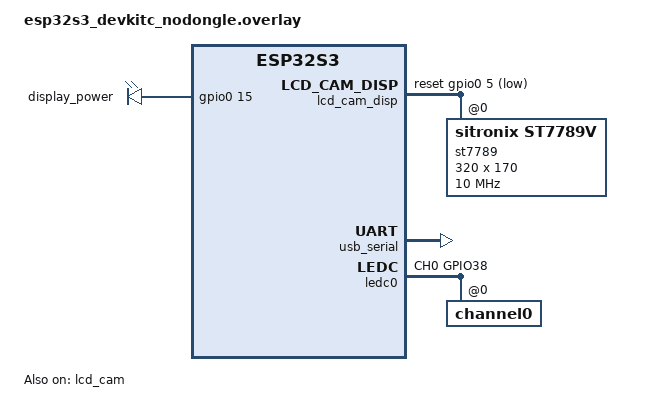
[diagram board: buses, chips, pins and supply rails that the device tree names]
#include <zephyr/dt-bindings/mipi_dbi/mipi_dbi.h>
#include <zephyr/dt-bindings/pinctrl/esp32s3-pinctrl.h>
#include <zephyr/dt-bindings/pwm/pwm.h>
#include <zephyr/dt-bindings/display/panel.h>

/ {
    chosen
    {
        zephyr,console = &usb_serial;
        zephyr,shell-uart = &usb_serial;
    };

    aliases
	{
        display-ctrl = &st7789;
    };

    // pwmleds removed - using direct PWM API instead

    leds
	{
        compatible = "gpio-leds";
        display_power: display_power_node //not used when using supplying power via USB
		{
            gpios = <&gpio0 15 GPIO_ACTIVE_HIGH>;
        };
    };

    // testing: testing
    // {
    //     compatible = "espressif,esp-mipi-dbi-lcd";

    //     #address-cells = <1>;
    //     #size-cells = <0>;

    //     dmas = <&dma 5>;  // Back to channel 5 for LCD
    //     dma-names = "tx";
    //     lcd-clock = <10000000>;
    //     bus-width = <8>;
    //     reset-gpios = <&gpio0 5 GPIO_ACTIVE_LOW>;
    //     dc-gpios = <&gpio0 7 GPIO_ACTIVE_HIGH>;
    //     wr-gpios = <&gpio0 8 GPIO_ACTIVE_HIGH>;
    //     rd-gpios = <&gpio0 9 GPIO_ACTIVE_HIGH>;
    //     cs-gpios = <&gpio0 6 GPIO_ACTIVE_LOW>;

    //     data-gpios = <&gpio1 (39 - 32) GPIO_ACTIVE_HIGH>,
    //                  <&gpio1 (40 - 32) GPIO_ACTIVE_HIGH>,
    //                  <&gpio1 (41 - 32) GPIO_ACTIVE_HIGH>,
    //                  <&gpio1 (42 - 32) GPIO_ACTIVE_HIGH>,
    //                  <&gpio1 (45 - 32) GPIO_ACTIVE_HIGH>,
    //                  <&gpio1 (46 - 32) GPIO_ACTIVE_HIGH>,
    //                  <&gpio1 (47 - 32) GPIO_ACTIVE_HIGH>,
    //                  <&gpio1 (48 - 32) GPIO_ACTIVE_HIGH>;

    //     st7789: st7789@0
    //     {
    //         compatible = "sitronix,st7789v";
    //         reg = <0>;
    //         mipi-max-frequency = <10000000>;
    //         mipi-mode = "MIPI_DBI_MODE_8080_BUS_8_BIT";
    //         // inversion-off;

    //         pixel-format = <PANEL_PIXEL_FORMAT_RGB_565>;

    //         height = <170>;
    //         width = <320>;
    //         x-offset = <0>;
    //         y-offset = <35>;
    //         // mdac = <0xa0>;
    //         mdac = <0xa0>; // 0xa0 | 0x08 (MADCTL bit3 = BGR order; replaces old CONFIG_ST7789V_BGR565)

    //         vcom = <0x19>;
    //         gctrl = <0x35>;
    //         vrhs = <0x12>;
    //         vdvs = <0x20>;
    //         gamma = <0x01>;
    //         lcm = <0x2c>;
    //         porch-param = [ 0c 0c 00 33 33 ];
    //         cmd2en-param = [ 5a 69 02 01 ];
    //         pwctrl1-param = [ a4 a1 ];
    //         pvgam-param = [ D0 04 0D 11 13 2B 3F 54 4C 18 0D 0B 1F 23 ];
    //         nvgam-param = [ D0 04 0C 11 13 2C 3F 44 51 2F 1F 1F 20 23 ];
    //         ram-param = [ 00 F8 ];
    //         rgb-param = [ CD 08 14 ];
    //     };
    // };

    // mipi_dbi
	// {
    //     compatible = "zephyr,mipi-dbi-bitbang";
    //     reset-gpios = <&gpio0 5 GPIO_ACTIVE_LOW>;
    //     dc-gpios = <&gpio0 7 GPIO_ACTIVE_HIGH>;
    //     wr-gpios = <&gpio0 8 GPIO_ACTIVE_HIGH>;
    //     rd-gpios = <&gpio0 9 GPIO_ACTIVE_HIGH>;
    //     cs-gpios = <&gpio0 6 GPIO_ACTIVE_LOW>;

    //     data-gpios = <&gpio1 (39 - 32) GPIO_ACTIVE_HIGH>,
    //                  <&gpio1 (40 - 32) GPIO_ACTIVE_HIGH>,
    //                  <&gpio1 (41 - 32) GPIO_ACTIVE_HIGH>,
    //                  <&gpio1 (42 - 32) GPIO_ACTIVE_HIGH>,
    //                  <&gpio1 (45 - 32) GPIO_ACTIVE_HIGH>,
    //                  <&gpio1 (46 - 32) GPIO_ACTIVE_HIGH>,
    //                  <&gpio1 (47 - 32) GPIO_ACTIVE_HIGH>,
    //                  <&gpio1 (48 - 32) GPIO_ACTIVE_HIGH>;

    //     #address-cells = <1>;
    //     #size-cells = <0>;

    //     st7789: st7789@0
	// 	{
    //         compatible = "sitronix,st7789v";
    //         reg = <0>;
    //         mipi-max-frequency = <0>; //not used with bitbanging
    //         mipi-mode = "MIPI_DBI_MODE_8080_BUS_8_BIT";

    //         pixel-format = <PANEL_PIXEL_FORMAT_RGB_565>;

    //         // height = <135>;
    //         // width = <240>;
	// 		// x-offset = <40>;
	// 		// y-offset = <52>;

    //         height = <170>;
    //         width = <320>;
	// 		x-offset = <0>;
	// 		y-offset = <35>;
    //         mdac = <0xa0>;

    //         vcom = <0x19>;
    //         gctrl = <0x35>;
    //         vrhs = <0x12>;
    //         vdvs = <0x20>;
    //         gamma = <0x01>;
    //         // colmod = <0x55>;
    //         lcm = <0x2c>;
    //         porch-param = [ 0c 0c 00 33 33 ];
    //         cmd2en-param = [ 5a 69 02 01 ];
    //         pwctrl1-param = [ a4 a1 ];
    //         pvgam-param = [ D0 04 0D 11 13 2B 3F 54 4C 18 0D 0B 1F 23 ];
    //         nvgam-param = [ D0 04 0C 11 13 2C 3F 44 51 2F 1F 1F 20 23 ];
    //         ram-param = [ 00 F8 ];
    //         rgb-param = [ CD 08 14 ];
    //     };
    // };
};

/delete-node/ &slot0_appcpu_partition;
/delete-node/ &slot1_partition;
/delete-node/ &slot1_appcpu_partition;
/delete-node/ &slot0_lpcore_partition;
/delete-node/ &slot1_lpcore_partition;
/delete-node/ &storage_partition;
/delete-node/ &scratch_partition;
/delete-node/ &coredump_partition;

&flash0
{
    reg = <0x0 DT_SIZE_M(16)>; // Address, size (16MB)

    partitions {
        slot0_partition: partition@20000
		{
            label = "image-0";
            reg = <0x20000 DT_SIZE_K(512)>;
            read-only;
        };
        game_settings_partition: partition@a0000
		{
            compatible = "zephyr,mapped-partition";
            label = "game-settings-partition";
            reg = <0xa0000 0x1000>;
        };
        game_saves_partition: partition@a1000
		{
            compatible = "zephyr,mapped-partition";
            label = "game-saves-partition";
            reg = <0xa1000 0x1000>;
        };
        cache_partition: partition@a2000
		{
            compatible = "zephyr,mapped-partition";
            label = "cache-partition";
            reg = <0xa2000 (0x22b000 - 0xa2000)>;
        };
        wad_partition: partition@22b000
		{
            compatible = "zephyr,mapped-partition";
            label = "wad-partition";
            reg = <0x22b000 (DT_SIZE_M(16) - 0x22b000)>;
            read-only;
        };
    };
};

&lcd_cam
{
    status = "okay";
};

/*
 * Third display path: upstream LCD-CAM i80 driver (drivers/mipi_dbi/mipi_dbi_esp32.c,
 * compatible "espressif,esp32-lcd-cam-mipi-dbi").
 *
 * Unlike the `testing` (espressif,esp-mipi-dbi-lcd) and `mipi_dbi`
 * (zephyr,mipi-dbi-bitbang) nodes above, this driver is NOT a top-level node:
 * it reads DT_INST_PARENT for IRQ / DMA (tx) / clocks, so the controller must be a
 * CHILD of &lcd_cam. The board stubs it as `lcd_cam_disp` (status disabled).
 *
 * Data(D0..D7) / WR(PCLK) / DC pins are routed via the lcd_cam pinctrl group below.
 * CS and reset are plain GPIOs on the controller node. RD (gpio0 9) is unused (i80 write-only).
 *
 * To use: comment out the `testing` node + its `aliases { display-ctrl = &st7789; }`,
 * uncomment this block, and point the alias at this st7789.
 */
&pinctrl {
    lcd_cam_default: lcd_cam_default {
        group1 {
            pinmux = <ESP32_PINMUX(39, ESP_NOSIG, ESP_LCD_DATA_OUT0)>,
                     <ESP32_PINMUX(40, ESP_NOSIG, ESP_LCD_DATA_OUT1)>,
                     <ESP32_PINMUX(41, ESP_NOSIG, ESP_LCD_DATA_OUT2)>,
                     <ESP32_PINMUX(42, ESP_NOSIG, ESP_LCD_DATA_OUT3)>,
                     <ESP32_PINMUX(45, ESP_NOSIG, ESP_LCD_DATA_OUT4)>,
                     <ESP32_PINMUX(46, ESP_NOSIG, ESP_LCD_DATA_OUT5)>,
                     <ESP32_PINMUX(47, ESP_NOSIG, ESP_LCD_DATA_OUT6)>,
                     <ESP32_PINMUX(48, ESP_NOSIG, ESP_LCD_DATA_OUT7)>,
                     <ESP32_PINMUX(8,  ESP_NOSIG, ESP_LCD_PCLK)>,       // WR
                     <ESP32_PINMUX(7,  ESP_NOSIG, ESP_LCD_DC)>;
            output-enable;
        };
    };
};

&lcd_cam {
    pinctrl-0 = <&lcd_cam_default>;
    pinctrl-names = "default";
    // lcd_cam already provides dmas = <&dma 6>, <&dma 7>; dma-names = "rx", "tx";
};

&lcd_cam_disp {
    status = "okay";
    #address-cells = <1>;
    #size-cells = <0>;

    reset-gpios = <&gpio0 5 GPIO_ACTIVE_LOW>;
    cs-gpios    = <&gpio0 6 GPIO_ACTIVE_LOW>;
    /* RD active-low: driven INACTIVE (physical high) at init so the panel
     * stops driving the shared 8080 data bus during writes. */
    rd-gpios    = <&gpio0 9 GPIO_ACTIVE_LOW>;

    st7789: st7789@0
    {
        compatible = "sitronix,st7789v";
        reg = <0>;                       // CS index (slave 0)
        mipi-max-frequency = <10000000>; // i80 PCLK
        mipi-mode = "MIPI_DBI_MODE_8080_BUS_8_BIT";

        pixel-format = <PANEL_PIXEL_FORMAT_RGB_565>;

        // DC line levels (driver defaults: idle/cmd=0, data=1)
        // dc-cmd-level  = <0>;
        // dc-data-level = <1>;

        height = <170>;
        width  = <320>;
        x-offset = <0>;
        y-offset = <35>;
        mdac = <0xa0>;

        vcom  = <0x19>;
        gctrl = <0x35>;
        vrhs  = <0x12>;
        vdvs  = <0x20>;
        gamma = <0x01>;
        lcm   = <0x2c>;
        porch-param   = [ 0c 0c 00 33 33 ];
        cmd2en-param  = [ 5a 69 02 01 ];
        pwctrl1-param = [ a4 a1 ];
        pvgam-param   = [ D0 04 0D 11 13 2B 3F 54 4C 18 0D 0B 1F 23 ];
        nvgam-param   = [ D0 04 0C 11 13 2C 3F 44 51 2F 1F 1F 20 23 ];
        ram-param     = [ 00 F8 ];
        rgb-param     = [ CD 08 14 ];
    };
};

&dma
{
    status = "okay";
};

&uart0
{
    status = "disabled";
    current-speed = <115200>;
};

&usb_serial
{
	status = "okay";
};

&ledc0 {
	pinctrl-0 = <&ledc0_default>;
	pinctrl-names = "default";
	status = "okay";
	#address-cells = <1>;
	#size-cells = <0>;
	channel0@0 {
		reg = <0x0>;
		timer = <0>;
	};
};

&pinctrl {
	ledc0_default: ledc0_default {
		group1 {
			pinmux = <LEDC_CH0_GPIO38>;
			output-enable;
		};
	};
};
